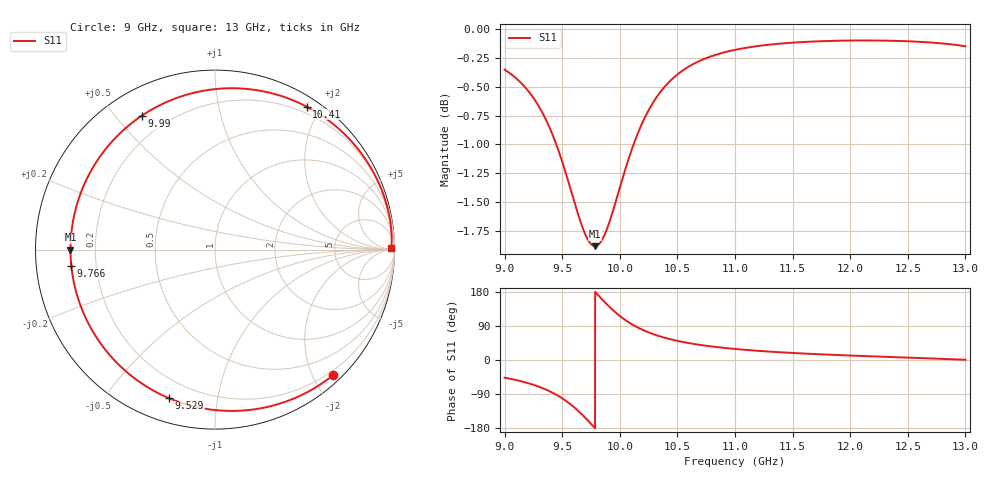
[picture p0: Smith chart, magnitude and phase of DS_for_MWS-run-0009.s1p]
! TOUCHSTONE file generated by CST DESIGN STUDIO
! Date and time: Tue Feb  4 18:24:28 2025
! Project name: C:\Work\MatlabApps\UnitCellOptimizationMatlab\CST\unitcell.cst
! Tree item: Tasks\Sweep1\SPara1\S-Parameters
! Header version: 2024
! Port assignment regex: !\s*Touchstone port\s*([0-9]+)\s*=\s*(CST MWS port|CST DES external port|CST DES block port)\s*(.+)\s* \(\"(.*)\"\)(\s*mode\s*([0-9]+))?.*
! Touchstone port assignment:
! Touchstone port 1 = CST DES external port 1 ("")
# GHz S MA R 50
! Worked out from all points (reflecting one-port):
!   4001 points, 9 GHz to 13 GHz, reference 50 ohm
!   lowest |S11| = -1.9 dB at 9.785 GHz (marker M1), VSWR 9.26, Z = 5.4 - j0.0192 ohm
!   phase of S11 starts at -47 deg and turns -313 deg over the sweep
!   S11 on the Smith chart (normalised r, x): 9 GHz: 0.13, -2.32; 9.529 GHz: 0.11, -0.73; 9.766 GHz: 0.11, -0.05; 9.99 GHz: 0.11, +0.59; 10.41 GHz: 0.12, +1.82; 13 GHz: 82, +54
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9  0.9604 -46.6
9.141  0.9479 -55.9
9.271  0.9303 -67.6
9.338  0.918 -75.3
9.402  0.9036 -84.2
9.5  0.8761 -101.1
9.529  0.8669 -107.1
9.587  0.8477 -120.5
9.643  0.8297 -135.4
9.709  0.8129 -155.2
9.766  0.8057 -173.7
9.785  0.8051 -180.0
9.828  0.8077 165.9
9.874  0.8157 151.2
9.933  0.8316 133.7
9.99  0.8502 118.7
10  0.8535 116.3
10.073  0.8774 100.4
10.156  0.9011 85.8
10.275  0.9269 69.9
10.406  0.9461 57.4
10.5  0.9558 50.5
10.717  0.97 38.9
11  0.9796 29.1
11.5  0.9866 18.6
12  0.9887 11.8
12.5  0.988 6.3
13  0.9831 0.6
